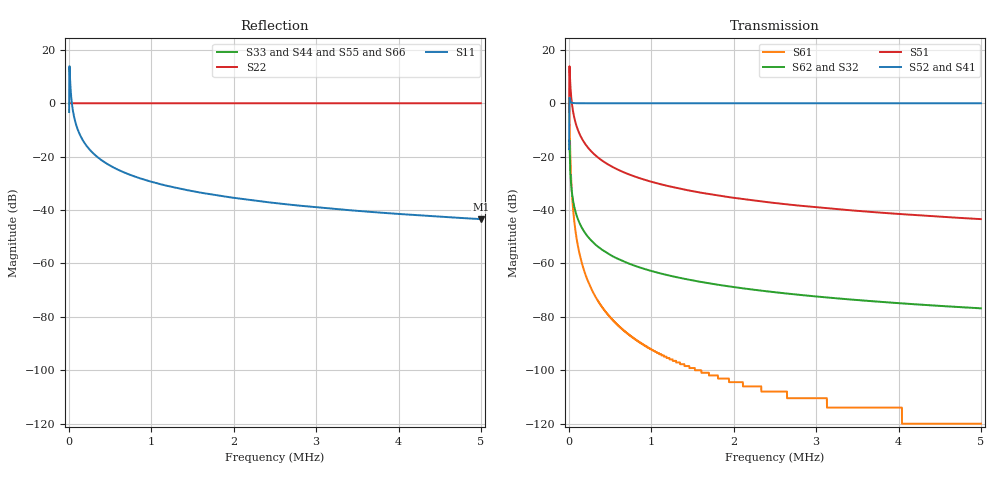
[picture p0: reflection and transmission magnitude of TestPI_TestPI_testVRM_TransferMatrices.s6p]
# MHz MA S R 50.0
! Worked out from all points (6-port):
!   10000 points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, 500 Hz to 5 MHz, reference 50 ohm
!   strongest paths, dB at 500 Hz, 1.25 MHz, 2.501 MHz, 3.751 MHz, 5 MHz:
!     S52: -17.2, 0.0, 0.0, 0.0, 0.0
!     S41: -0.3, 0.0, 0.0, 0.0, 0.0
!     S51: -3.3, -31.3, -37.4, -40.9, -43.4
!     S62: -14.1, -64.7, -70.8, -74.3, -76.8
!     S32: -14.1, -64.7, -70.8, -74.3, -76.8
!     S61: -0.2, -95.9, -108.0, -114.0, -120.0
!   lowest |S11| = -43.4 dB at 5 MHz (marker M1), VSWR 1.01, Z = 50 - j0.677 ohm
!   |S11| at or under -10 dB: 107.1 kHz to end of sweep
